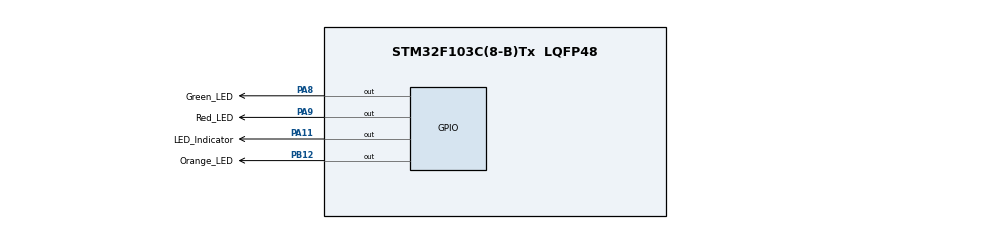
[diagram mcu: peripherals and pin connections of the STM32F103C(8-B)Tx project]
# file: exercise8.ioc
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FREERTOS.BinarySemaphores01=CriticalResourceSemaphore,Dynamic,NULL,Available
FREERTOS.Tasks01=defaultTask,24,128,StartDefaultTask,Default,NULL,Dynamic,NULL,NULL;FlashGreenLed,24,128,FlashGreenLedTask,Default,NULL,Dynamic,NULL,NULL;FlashRedLed,24,128,FlashRedLedTask,Default,NULL,Dynamic,NULL,NULL;FlashOrangeLed,32,128,FlashOrangeLedTask,Default,NULL,Dynamic,NULL,NULL
Mcu.Family=STM32F1
Mcu.Name=STM32F103C(8-B)Tx
Mcu.Package=LQFP48
NVIC.PriorityGroup=NVIC_PRIORITYGROUP_4
PA11.GPIO_Label=LED_Indicator
PA11.Signal=GPIO_Output
PA13.Mode=Serial_Wire
PA13.Signal=SYS_JTMS-SWDIO
PA14.Mode=Serial_Wire
PA14.Signal=SYS_JTCK-SWCLK
PA8.GPIO_Label=Green_LED
PA8.Signal=GPIO_Output
PA9.GPIO_Label=Red_LED
PA9.Signal=GPIO_Output
PB12.GPIO_Label=Orange_LED
PB12.Signal=GPIO_Output
ProjectManager.HeapSize=0x200
ProjectManager.StackSize=0x400
ProjectManager.TargetToolchain=STM32CubeIDE
RCC.APB1Freq_Value=8000000
RCC.APB2Freq_Value=8000000
VP_FREERTOS_VS_CMSIS_V2.Mode=CMSIS_V2
board=custom

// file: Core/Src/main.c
/* USER CODE BEGIN Header */
/**
  ******************************************************************************
  * @file           : main.c
  * @brief          : Main program body
  ******************************************************************************
  * @attention
  *
  * Copyright (c) 2024 STMicroelectronics.
  * All rights reserved.
  *
  * This software is licensed under terms that can be found in the LICENSE file
  * in the root directory of this software component.
  * If no LICENSE file comes with this software, it is provided AS-IS.
  *
  ******************************************************************************
  */
/* USER CODE END Header */
#include "main.h"
#include "cmsis_os.h"

/* Definitions for defaultTask */
osThreadId_t defaultTaskHandle;
const osThreadAttr_t defaultTask_attributes = {
  .name = "defaultTask",
  .stack_size = 128 * 4,
  .priority = (osPriority_t) osPriorityNormal,
};
/* Definitions for FlashGreenLed */
osThreadId_t FlashGreenLedHandle;
const osThreadAttr_t FlashGreenLed_attributes = {
  .name = "FlashGreenLed",
  .stack_size = 128 * 4,
  .priority = (osPriority_t) osPriorityNormal,
};
/* Definitions for FlashRedLed */
osThreadId_t FlashRedLedHandle;
const osThreadAttr_t FlashRedLed_attributes = {
  .name = "FlashRedLed",
  .stack_size = 128 * 4,
  .priority = (osPriority_t) osPriorityNormal,
};
/* Definitions for FlashOrangeLed */
osThreadId_t FlashOrangeLedHandle;
const osThreadAttr_t FlashOrangeLed_attributes = {
  .name = "FlashOrangeLed",
  .stack_size = 128 * 4,
  .priority = (osPriority_t) osPriorityAboveNormal,
};
/* Definitions for CriticalResourceSemaphore */
osSemaphoreId CriticalResourceSemaphoreHandle;
const osSemaphoreAttr_t CriticalResourceSemaphore_attributes = {
  .name = "CriticalResourceSemaphore"
};
/* USER CODE BEGIN PV */
osSemaphoreDef(CriticalResourceSemaphore);

volatile int StartFlag = 1;

void AccessSharedResource() {
    // Try to acquire the semaphore, but do not block
    if (osSemaphoreAcquire(CriticalResourceSemaphoreHandle, osWaitForever) == osOK) {
        // Resource is available, proceed with accessing the shared resource
        if (StartFlag == 1) {
            StartFlag = 0;  // Mark the resource as being accessed
        } else {
            HAL_GPIO_WritePin(LED_Indicator_GPIO_Port, LED_Indicator_Pin, GPIO_PIN_SET); // Blue LED ON, indicating contention
        }

        osDelay(1000);  // Simulate working with the resource

        StartFlag = 1;  // Mark the resource as available again
        HAL_GPIO_WritePin(LED_Indicator_GPIO_Port, LED_Indicator_Pin, GPIO_PIN_RESET);  // Blue LED OFF

        // Release the semaphore after finishing with the resource
        osSemaphoreRelease(CriticalResourceSemaphoreHandle);  // Release the semaphore
    } else {
        // Semaphore is already taken by another task
        // Handle the case when resource is unavailable (optional)
        HAL_GPIO_WritePin(LED_Indicator_GPIO_Port, LED_Indicator_Pin, GPIO_PIN_SET);  // Optionally, show contention by turning on Blue LED
    }
}

/* USER CODE END PV */

void SystemClock_Config(void);
static void MX_GPIO_Init(void);
void StartDefaultTask(void *argument);
void FlashGreenLedTask(void *argument);
void FlashRedLedTask(void *argument);
void FlashOrangeLedTask(void *argument);

int main(void)
{

  /* MCU Configuration--------------------------------------------------------*/

  /* Reset of all peripherals, Initializes the Flash interface and the Systick. */
  HAL_Init();

  /* Configure the system clock */
  SystemClock_Config();

  /* Initialize all configured peripherals */
  MX_GPIO_Init();

  /* Init scheduler */
  osKernelInitialize();

  /* Create the semaphores(s) */
  /* creation of CriticalResourceSemaphore */
  CriticalResourceSemaphoreHandle = osSemaphoreNew(1, 1, &CriticalResourceSemaphore_attributes);

  /* Create the thread(s) */
  /* creation of defaultTask */
  defaultTaskHandle = osThreadNew(StartDefaultTask, NULL, &defaultTask_attributes);

  /* creation of FlashGreenLed */
  FlashGreenLedHandle = osThreadNew(FlashGreenLedTask, NULL, &FlashGreenLed_attributes);

  /* creation of FlashRedLed */
  FlashRedLedHandle = osThreadNew(FlashRedLedTask, NULL, &FlashRedLed_attributes);

  /* creation of FlashOrangeLed */
  FlashOrangeLedHandle = osThreadNew(FlashOrangeLedTask, NULL, &FlashOrangeLed_attributes);

  /* Start scheduler */
  osKernelStart();

  /* We should never get here as control is now taken by the scheduler */

  /* Infinite loop */
  while (1)
  {

  }
}

void SystemClock_Config(void)
{
  RCC_OscInitTypeDef RCC_OscInitStruct = {0};
  RCC_ClkInitTypeDef RCC_ClkInitStruct = {0};

  /** Initializes the RCC Oscillators according to the specified parameters
  * in the RCC_OscInitTypeDef structure.
  */
  RCC_OscInitStruct.OscillatorType = RCC_OSCILLATORTYPE_HSI;
  RCC_OscInitStruct.HSIState = RCC_HSI_ON;
  RCC_OscInitStruct.HSICalibrationValue = RCC_HSICALIBRATION_DEFAULT;
  RCC_OscInitStruct.PLL.PLLState = RCC_PLL_NONE;
  if (HAL_RCC_OscConfig(&RCC_OscInitStruct) != HAL_OK)
  {
    Error_Handler();
  }

  /** Initializes the CPU, AHB and APB buses clocks
  */
  RCC_ClkInitStruct.ClockType = RCC_CLOCKTYPE_HCLK|RCC_CLOCKTYPE_SYSCLK
                              |RCC_CLOCKTYPE_PCLK1|RCC_CLOCKTYPE_PCLK2;
  RCC_ClkInitStruct.SYSCLKSource = RCC_SYSCLKSOURCE_HSI;
  RCC_ClkInitStruct.AHBCLKDivider = RCC_SYSCLK_DIV1;
  RCC_ClkInitStruct.APB1CLKDivider = RCC_HCLK_DIV1;
  RCC_ClkInitStruct.APB2CLKDivider = RCC_HCLK_DIV1;

  if (HAL_RCC_ClockConfig(&RCC_ClkInitStruct, FLASH_LATENCY_0) != HAL_OK)
  {
    Error_Handler();
  }
}

static void MX_GPIO_Init(void)
{
  GPIO_InitTypeDef GPIO_InitStruct = {0};

  /* GPIO Ports Clock Enable */
  __HAL_RCC_GPIOB_CLK_ENABLE();
  __HAL_RCC_GPIOA_CLK_ENABLE();

  /*Configure GPIO pin Output Level */
  HAL_GPIO_WritePin(Orange_LED_GPIO_Port, Orange_LED_Pin, GPIO_PIN_RESET);

  /*Configure GPIO pin Output Level */
  HAL_GPIO_WritePin(GPIOA, Green_LED_Pin|Red_LED_Pin|LED_Indicator_Pin, GPIO_PIN_RESET);

  /*Configure GPIO pin : Orange_LED_Pin */
  GPIO_InitStruct.Pin = Orange_LED_Pin;
  GPIO_InitStruct.Mode = GPIO_MODE_OUTPUT_PP;
  GPIO_InitStruct.Pull = GPIO_NOPULL;
  GPIO_InitStruct.Speed = GPIO_SPEED_FREQ_LOW;
  HAL_GPIO_Init(Orange_LED_GPIO_Port, &GPIO_InitStruct);

  /*Configure GPIO pins : Green_LED_Pin Red_LED_Pin LED_Indicator_Pin */
  GPIO_InitStruct.Pin = Green_LED_Pin|Red_LED_Pin|LED_Indicator_Pin;
  GPIO_InitStruct.Mode = GPIO_MODE_OUTPUT_PP;
  GPIO_InitStruct.Pull = GPIO_NOPULL;
  GPIO_InitStruct.Speed = GPIO_SPEED_FREQ_LOW;
  HAL_GPIO_Init(GPIOA, &GPIO_InitStruct);

}

void StartDefaultTask(void *argument)
{
  for(;;)
  {
    osDelay(1);
  }
}

void FlashGreenLedTask(void *argument)
{
  /* USER CODE BEGIN FlashGreenLedTask */
  /* Infinite loop */
  for(;;)
  {
	  HAL_GPIO_WritePin(Green_LED_GPIO_Port, Green_LED_Pin, GPIO_PIN_SET); // Turn Blue LED on
	  AccessSharedResource();
	  osDelay(200);
	  HAL_GPIO_WritePin(Green_LED_GPIO_Port, Green_LED_Pin,	 GPIO_PIN_RESET);
	  osDelay(200);
  }
  /* USER CODE END FlashGreenLedTask */
}

void FlashRedLedTask(void *argument)
{
  /* USER CODE BEGIN FlashRedLedTask */
  /* Infinite loop */
  for(;;)
  {
	  HAL_GPIO_WritePin(Red_LED_GPIO_Port, Red_LED_Pin, GPIO_PIN_SET); // Turn Blue LED on
	  AccessSharedResource();
	  osDelay(550);
	  HAL_GPIO_WritePin(Red_LED_GPIO_Port, Red_LED_Pin, GPIO_PIN_RESET);
	  osDelay(550);
  }
  /* USER CODE END FlashRedLedTask */
}

void FlashOrangeLedTask(void *argument)
{
  /* USER CODE BEGIN FlashOrangeLedTask */
  /* Infinite loop */
  for(;;)
  {
	  HAL_GPIO_WritePin(Orange_LED_GPIO_Port, Orange_LED_Pin, GPIO_PIN_SET); // Turn Blue LED on
	  osDelay(50);
	  HAL_GPIO_WritePin(Orange_LED_GPIO_Port, Orange_LED_Pin, GPIO_PIN_RESET);
	  osDelay(50);
  }
  /* USER CODE END FlashOrangeLedTask */
}

void Error_Handler(void)
{
  __disable_irq();
  while (1)
  {
  }
}
